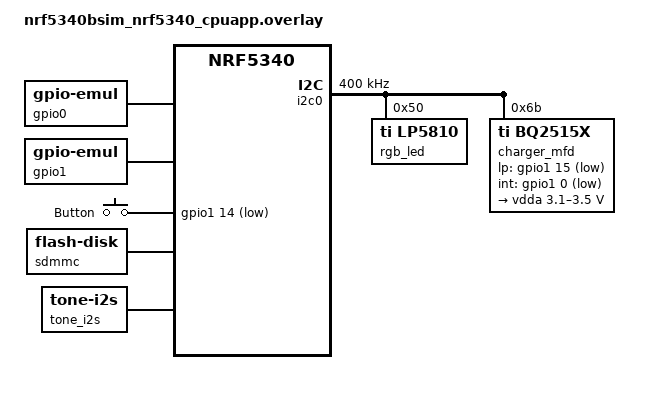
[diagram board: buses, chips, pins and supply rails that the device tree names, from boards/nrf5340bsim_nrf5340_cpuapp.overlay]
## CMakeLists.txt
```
# SPDX-License-Identifier: GPL-3.0-or-later
cmake_minimum_required(VERSION 3.20.0)

# app.overlay is not used automatically if a board-specific overlay is present
list(APPEND EXTRA_DTC_OVERLAY_FILE app.overlay)

find_package(Zephyr REQUIRED HINTS $ENV{ZEPHYR_BASE})

if(("${BOARD}" STREQUAL "zeus_le") OR
    ("${BOARD}" STREQUAL "raytac_mdbt53_db_40") OR
    ("${BOARD}" STREQUAL "nrf5340bsim"))
    message(INFO " ${BOARD} used for Application Core")
else()
    message(FATAL_ERROR "${BOARD} is not supported")
endif()

project(zeus_le_audio LANGUAGES C)

add_subdirectory(../../protocol protocol)
add_subdirectory(../../common common)
add_subdirectory(../common audio_common)
add_subdirectory_ifdef(CONFIG_LFTPD ../../lftpd lftpd)
add_subdirectory(src)

target_link_libraries(app PRIVATE
    zeus_protocol
    zeus_common
    zeus_audio_common
)
```

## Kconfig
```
# SPDX-License-Identifier: GPL-3.0-or-later

source "Kconfig.zephyr"
rsource "../../common/Kconfig"
rsource "../../lftpd/Kconfig"

menu "Zeus LE"

rsource "src/drivers/Kconfig"

endmenu
```

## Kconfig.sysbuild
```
# SPDX-License-Identifier: GPL-3.0-or-later

source "share/sysbuild/Kconfig"

config NET_CORE_BOARD
string
	default "zeus_le/nrf5340/cpunet" if $(BOARD) = "zeus_le"
	default "raytac_mdbt53_db_40/nrf5340/cpunet" if $(BOARD) = "raytac_mdbt53_db_40"
	default "nrf5340bsim/nrf5340/cpunet" if $(BOARD) = "nrf5340bsim"
```

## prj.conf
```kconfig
### General
# WiFi requires full libc, use it on all platforms for consistency
CONFIG_PICOLIBC=y
# Poweroff support
CONFIG_POWEROFF=y
# Reboot support (enables 'kernel reboot' command)
CONFIG_REBOOT=y
# C++ support used for coroutines
CONFIG_CPP=y
# Event support for power module
CONFIG_EVENTS=y
# Build common code for audio node
CONFIG_ZEUS_NODE_AUDIO=y
# Three IPC endpoints: HCI, sync and logging
CONFIG_IPC_SERVICE_BACKEND_RPMSG_NUM_ENDPOINTS_PER_INSTANCE=3
# Increase stack size for SD card mounting
CONFIG_SYSTEM_WORKQUEUE_STACK_SIZE=2048

CONFIG_NRFX_TIMER2=y

### Console
CONFIG_SERIAL=y
CONFIG_UART_CONSOLE=y
# Shell on UART
CONFIG_SHELL_BACKEND_SERIAL=y

### Logging
CONFIG_LOG=y
# Receive logs from network core
CONFIG_LOG_MULTIDOMAIN=y
CONFIG_LOG_LINK_IPC_SERVICE=y
# Deferred mode required for IPC logging
CONFIG_LOG_MODE_DEFERRED=y
CONFIG_LOG_PROCESS_THREAD=y

# FPU required for sync algorithm
CONFIG_FPU=y
# Also want to be able to print floats
CONFIG_REQUIRES_FLOAT_PRINTF=y

### Power management
# Device power management
CONFIG_PM_DEVICE=y
# Runtime power management
CONFIG_PM_DEVICE_RUNTIME=y

### Settings
CONFIG_SETTINGS=y
# Flash support for settings
CONFIG_FLASH=y
CONFIG_FLASH_MAP=y
# Use non-volatile storage backed
CONFIG_NVS=y
CONFIG_SETTINGS_NVS=y
CONFIG_SETTINGS_SHELL=y

### GPIO
CONFIG_GPIO=y

### I2C
CONFIG_I2C=y

### LED
CONFIG_LED=y

### Battery Charger
CONFIG_CHARGER=y

### Regulator
CONFIG_REGULATOR=y

### Sensor (ADC)
CONFIG_SENSOR=y

### Bluetooth LE
CONFIG_BT=y
# Central, connects to other devices
CONFIG_BT_CENTRAL=y
# Security Manager Protocol, pairing support
CONFIG_BT_SMP=y
# Disable legacy pairing
CONFIG_BT_SMP_SC_PAIR_ONLY=y
# Zephyr controller doesn't support ECC, so emulate it on host
CONFIG_BT_TINYCRYPT_ECC=y
# Settings support, to store pairing info
CONFIG_BT_SETTINGS=y
# Receive periodic extended advertisments for synchronization
CONFIG_BT_EXT_ADV=y
CONFIG_BT_PER_ADV_SYNC=y

### Audio
# I2S for audio input
CONFIG_I2S=y
CONFIG_AUDIO=y
# Not directly used, but provides code for custom input codec driver
CONFIG_AUDIO_CODEC=y
# For capturing I2S timestamps
CONFIG_NRFX_EGU0=y

### FAT filesystem for SD card
CONFIG_FILE_SYSTEM=y
# Only FAT is used
CONFIG_FILE_SYSTEM_MAX_TYPES=1
# ELM-ChaN FatFs
CONFIG_FAT_FILESYSTEM_ELM=y
# Enable more than 8.3 file names
CONFIG_FS_FATFS_LFN=y
# Store filenames on stack, required to make FatFS thread safe
CONFIG_FS_FATFS_LFN_MODE_STACK=y
# No point in being larger than lftpd max path length
CONFIG_FS_FATFS_MAX_LFN=128
# Allow safe access from multiple threads
CONFIG_FS_FATFS_REENTRANT=y
# Don't want to destroy unrecognized filesystems
CONFIG_FS_FATFS_MOUNT_MKFS=n

### Shell
CONFIG_SHELL=y
CONFIG_GPIO_SHELL=y
CONFIG_I2C_SHELL=y
CONFIG_LED_SHELL=y
CONFIG_REGULATOR_SHELL=y
```

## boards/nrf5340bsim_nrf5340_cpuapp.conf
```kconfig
### Debugging
# Enable assertions
CONFIG_ASSERT=y

### Console
# Simulated UART on stdin/stdout
CONFIG_NATIVE_UART_0_ON_STDINOUT=y
# Disable default console that only supports output
CONFIG_POSIX_ARCH_CONSOLE=n
# Logging goes through shell UART instead
CONFIG_LOG_BACKEND_NATIVE_POSIX=n
# Have lots of memory, increase log buffer to reduce dropped messages
CONFIG_LOG_BUFFER_SIZE=8192

### Device Emulation
CONFIG_EMUL=y

### Ethernet
CONFIG_ETH_NATIVE_POSIX=y
CONFIG_ETH_NATIVE_POSIX_DRV_NAME="zeus-audio"
CONFIG_ETH_NATIVE_POSIX_RANDOM_MAC=n
CONFIG_ETH_NATIVE_POSIX_MAC_ADDR="02:d2:89:c9:e2:df"

CONFIG_AUDIO_DUMMY_CODEC=y
CONFIG_DISK_DRIVER_FLASH=y

### Audio
CONFIG_I2S_TONE=y

CONFIG_DISK_CACHE_LOG_LEVEL_DBG=y
```

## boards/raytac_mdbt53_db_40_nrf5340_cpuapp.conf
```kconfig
CONFIG_I2C=y
CONFIG_MAIN_STACK_SIZE=2048
CONFIG_NRFX_EGU0=y
CONFIG_SDHC=y
CONFIG_SHELL_BACKEND_SERIAL_API_ASYNC=y
CONFIG_SOC_HFXO_CAP_INT_VALUE_X2=25
CONFIG_SOC_HFXO_CAP_INTERNAL=y
CONFIG_SPI_NRFX_RAM_BUFFER_SIZE=64
CONFIG_UART_ASYNC_API=y
CONFIG_UDC_DRIVER_LOG_LEVEL_WRN=y
CONFIG_USB_DEVICE_STACK_NEXT=y
CONFIG_USBD_CDC_ECM_CLASS=y
CONFIG_USBD_LOG_LEVEL_WRN=y
```

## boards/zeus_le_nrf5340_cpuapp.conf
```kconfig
CONFIG_MAIN_STACK_SIZE=2048
# Increase shell stack for WiFi commands
CONFIG_SHELL_STACK_SIZE=5200

CONFIG_NRFX_EGU0=y

# Configure 32MHz crystal load capacitor
# "The settings for WT02C40C are to be determined"
# These settings are given as an example
CONFIG_SOC_HFXO_CAP_INTERNAL=y
CONFIG_SOC_HFXO_CAP_INT_VALUE_X2=25

### Audio
# Initialize after regulator driver
CONFIG_AUDIO_CODEC_INIT_PRIORITY=87
# Needs to be large enough to ride out SD card latency spikes
CONFIG_I2S_NRFX_RX_BLOCK_COUNT=25
# TX is not used, so save a little memory
CONFIG_I2S_NRFX_TX_BLOCK_COUNT=0

### SD card
CONFIG_SDHC=y
CONFIG_SPI_NRFX_RAM_BUFFER_SIZE=64
CONFIG_SDMMC_VOLUME_NAME="SD_raw"

### USB
# New USB stack
CONFIG_USB_DEVICE_STACK_NEXT=y
# USB Serial
CONFIG_USBD_CDC_ACM_CLASS=y
# Needed by USB serial
CONFIG_UART_LINE_CTRL=y
# Reduce log level
CONFIG_UDC_DRIVER_LOG_LEVEL_WRN=y
CONFIG_USBD_LOG_LEVEL_WRN=y
CONFIG_USBD_CDC_ACM_LOG_LEVEL_WRN=y

### WiFi
# CONFIG_WIFI=y
# WiFi shell commands
# CONFIG_NET_L2_WIFI_SHELL=y
```

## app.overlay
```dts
// SPDX-License-Identifier: GPL-3.0-or-later

#include "../common/audio.dtsi"

/ {
	sdmmc-cached {
		compatible = "zephyr,disk-cache";
		disk-name = "SD";
		backing-disk-name = "SD_raw";
		sector-size = <512>;
		sector-count = <8>;
	};
};
```

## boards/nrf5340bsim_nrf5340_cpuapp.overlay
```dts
// SPDX-License-Identifier: GPL-3.0-or-later

#include <dt-bindings/led/led.h>
#include <zeus/dt-bindings/regulator/bq2515x.h>

/ {
	chosen {
		zephyr,console = &stdio;
		zephyr,shell-uart = &stdio;
	};

	aliases {
		i2s = &tone_i2s;
		codec = &dummy_codec;
	};

	stdio: stdio {
		status = "okay";
		compatible = "zephyr,native-posix-uart";
		/* Dummy current-speed entry to comply with serial
		 * DTS binding
		 */
		current-speed = <0>;
	};

	gpio0: gpio0_emul {	
		status = "okay";
		compatible = "zephyr,gpio-emul";
		rising-edge;
		falling-edge;
		high-level;
		low-level;
		gpio-controller;
		#gpio-cells = <2>;
	};

	gpio1: gpio1_emul {	
		status = "okay";
		compatible = "zephyr,gpio-emul";
		rising-edge;
		falling-edge;
		high-level;
		low-level;
		gpio-controller;
		#gpio-cells = <2>;
	};

	gpio_keys {
		compatible = "gpio-keys";
		button: button {
			label = "Button";
			gpios = <&gpio1 14 GPIO_ACTIVE_LOW>;
			zephyr,code = <INPUT_KEY_0>;
		};
	};

	i2c0: i2c@100 {
		status = "okay";
		compatible = "zephyr,i2c-emul-controller";
		clock-frequency = <I2C_BITRATE_FAST>;
		#address-cells = <1>;
		#size-cells = <0>;
		#forward-cells = <1>;
		reg = <0x100 4>;

		rgb_led: lp5810@50 {
			compatible = "ti,lp5810";
			reg = <0x50>;

			max-current-microamp = <25500>;
			lsd-threshold-percent = <65>;

			rgb-led {
				label = "RGB LED";
				index = <0>;
				color-mapping = <LED_COLOR_ID_BLUE LED_COLOR_ID_GREEN LED_COLOR_ID_RED>;
				manual-current-microamp = <6000 7000 9800>;
				auto-current-microamp = <6000 7000 9800>;
				phase-align = "forward", "middle", "backward";
			};
		};

		charger_mfd: bq25150@6b {
			compatible = "ti,bq2515x";
			reg = <0x6b>;
			lp-gpios = <&gpio1 15 GPIO_ACTIVE_LOW>;
			int-gpios = <&gpio1 0 GPIO_ACTIVE_LOW>;

			pg-mode = "mr";

			charger: charger {
				compatible = "ti,bq2515x-charger";
				ce-gpios = <&gpio1 8 GPIO_ACTIVE_LOW>;

				constant-charge-current-max-microamp = <300000>;
				input-current-max-milliamp = <500>;
			};

			charger_adc: adc {
				compatible = "ti,bq2515x-adc";
				read-rate = "1sec";
			};

			charger_regulators: regulators {
				compatible = "ti,bq2515x-regulator";

				vdda: ldo {
					regulator-initial-mode = <BQ2515X_REGULATOR_MODE_LDO>;
					regulator-min-microvolt = <3100000>;
					regulator-max-microvolt = <3500000>;
				};
			};
		};
	};

	sim_flash {
		compatible = "zephyr,sim-flash";

		#address-cells = <1>;
		#size-cells = <1>;
		erase-value = <0xff>;

		flash@0 {
			compatible = "soc-nv-flash";
			reg = <0x00000000 DT_SIZE_M(256)>;

			erase-block-size = <512>;
			write-block-size = <512>;

			partitions {
				compatible = "fixed-partitions";
				#address-cells = <1>;
				#size-cells = <1>;

				sdmmc_partition: partition@0 {
					label = "sd";
					reg = <0x00000000 DT_SIZE_M(256)>;
				};
			};
		};
	};

	sdmmc {
		compatible = "zephyr,flash-disk";
		partition = <&sdmmc_partition>;
		disk-name = "SD_raw";
		cache-size = <512>;
	};

	tone_i2s: tone-i2s {
		compatible = "zephyr,tone-i2s";
		//frequency = <500>;
	};

	dummy_codec: dummy-codec {
		compatible = "zephyr,dummy-codec";
	};
};
```

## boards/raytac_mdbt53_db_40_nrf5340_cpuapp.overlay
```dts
// SPDX-License-Identifier: GPL-3.0-or-later

/ {
	aliases {
		i2s = &i2s0;
		codec = &sgtl5000;
	};

	cdc_ecm_eth0: cdc_ecm_eth0 {
		compatible = "zephyr,cdc-ecm-ethernet";
		local-mac-address = [ 02 00 00 85 72 C0 ];
		remote-mac-address = "8a5488a923a6";
	};
};

&pinctrl {
	i2c1_default_alt: i2c1_default_alt {
		group1 {
			psels = <NRF_PSEL(TWIM_SDA, 0, 12)>,
				<NRF_PSEL(TWIM_SCL, 1, 3)>;
		};
	};

	i2c1_sleep_alt: i2c1_sleep_alt {
		group1 {
			psels = <NRF_PSEL(TWIM_SDA, 0, 12)>,
				<NRF_PSEL(TWIM_SCL, 1, 3)>;
			low-power-enable;
		};
	};

	i2s0_default_alt: i2s0_default_alt {
		group1 {
			psels = <NRF_PSEL(I2S_MCK, 0, 24)>,
				<NRF_PSEL(I2S_SCK_M, 0, 25)>,
				<NRF_PSEL(I2S_LRCK_M, 1, 6)>,
				<NRF_PSEL(I2S_SDIN, 1, 4)>;
		};
	};

	spi4_default_alt: spi4_default_alt {
		group1 {
			psels = <NRF_PSEL(SPIM_SCK, 0, 8)>,
				<NRF_PSEL(SPIM_MISO, 0, 10)>,
				<NRF_PSEL(SPIM_MOSI, 0, 9)>;
		};
	};

	spi4_sleep_alt: spi4_sleep_alt {
		group1 {
			psels = <NRF_PSEL(SPIM_SCK, 0, 8)>,
				<NRF_PSEL(SPIM_MISO, 0, 10)>,
				<NRF_PSEL(SPIM_MOSI, 0, 9)>;
			low-power-enable;
		};
	};
};

&uart0 {
    current-speed = <1000000>;
};

&i2c1 {
	status = "okay";
	pinctrl-0 = <&i2c1_default_alt>;
	pinctrl-1 = <&i2c1_sleep_alt>;
	pinctrl-names = "default", "sleep";

	sgtl5000: sgtl5000@a {
		compatible = "nxp,sgtl5000";
		reg = <0x0a>;

		micbias-resistor-k-ohms = <2>;
		micbias-voltage-m-volts = <2500>;
	};
};

&clock {
	hfclkaudio-frequency = <11289600>;
};

&i2s0 {
	status = "okay";
	pinctrl-0 = <&i2s0_default_alt>;
	pinctrl-names = "default";
	clock-source = "ACLK";
	mck-min-frequency = <8000000>;
	mck-max-frequency = <27000000>;
};

&spi4 {
	compatible = "nordic,nrf-spim";
	status = "okay";
	cs-gpios = <&gpio0 11 GPIO_ACTIVE_LOW>;
	pinctrl-0 = <&spi4_default_alt>;
	pinctrl-1 = <&spi4_sleep_alt>;
	pinctrl-names = "default", "sleep";

	sdhc0: sdhc@0 {
		compatible = "zephyr,sdhc-spi-slot";
		reg = <0>;
		status = "okay";
		sdmmc {
			compatible = "zephyr,sdmmc-disk";
			status = "okay";
		};

		// Spec says 25 MHz is the max for SPI mode. Next lowest supported by
		// nRF53 SPI is 16 MHz. Probably should hack the driver to allow
		// overclocking to 32 MHz.
		spi-max-frequency = <32000000>;
	};
};

// Need these pins for SD card
&gpio_fwd {
	/delete-node/ uart;
};

// Disable unused hardware
&uart1 {
	status = "disabled";
};

&pwm0 {
	status = "disabled";
};

&spi2 {
	status = "disabled";
};

&spi3 {
	status = "disabled";
};
```

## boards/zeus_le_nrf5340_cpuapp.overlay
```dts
// SPDX-License-Identifier: GPL-3.0-or-later

/ {
	cdc_ecm_eth0: cdc_ecm_eth0 {
		compatible = "zephyr,cdc-ecm-ethernet";
		local-mac-address = [ 02 00 00 85 72 C1 ];
		remote-mac-address = "8a5488a923a6";
	};
};
```

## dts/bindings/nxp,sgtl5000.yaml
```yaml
# SPDX-License-Identifier: GPL-3.0-or-later

description: NXP/Freescale SGTL5000 Audio Codec

compatible: "nxp,sgtl5000"

include: i2c-device.yaml

properties:
  micbias-resistor-k-ohms:
    type: int
    default: 0
    description: |
      The bias resistor to be used in kOhms. The resistor can take values of 2k,
      4k or 8k. By default it is set to 0, which disables the micbias block.
    enum: [ 0, 2, 4, 8 ]

  micbias-voltage-m-volts:
    type: int
    default: 1250
    description: |
      The bias voltage to be used in millivolts. The voltage can take values
      from 1.25V to 3V by 250mV steps. By default, it is set to 1.25mV.
    enum: [ 1250, 1500, 1750, 2000, 2250, 2500, 2750, 3000 ]
```

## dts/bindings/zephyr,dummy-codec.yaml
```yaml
# SPDX-License-Identifier: GPL-3.0-or-later

description: No-op input codec

compatible: "zephyr,dummy-codec"
```

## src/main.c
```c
// SPDX-License-Identifier: GPL-3.0-or-later
#include <nrfx_clock.h>
#include <zephyr/bluetooth/bluetooth.h>
#include <zephyr/kernel.h>
#include <zephyr/logging/log.h>
#include <zephyr/settings/settings.h>

#include "audio.h"
#include "ftp.h"
#include "mgr.h"
#include "record.h"
#include "sd_card.h"
#include "sync_timer.h"
#include "zeus/led.h"
#include "zeus/power.h"
#include "zeus/usb.h"
#include "zeus/wifi.h"

LOG_MODULE_REGISTER(audio_app);

WIFI_POWER_OFF_REGISTER();

#if IS_ENABLED(CONFIG_SOC_SERIES_NRF53X)
static int cpu_clock_128_mhz(void) {
    nrfx_err_t err =
        nrfx_clock_divider_set(NRF_CLOCK_DOMAIN_HFCLK, NRF_CLOCK_HFCLK_DIV_1);
    if (err != NRFX_SUCCESS) {
        LOG_WRN("Failed to set CPU to 128 MHz: %d", err - NRFX_ERROR_BASE_NUM);
        return -1;
    }
    return 0;
}
#endif

int main(void) {
    int ret;

    ret = power_init();
    if (ret) {
        LOG_ERR("power init failed (err %d)", ret);
    }

#if IS_ENABLED(CONFIG_SOC_SERIES_NRF53X)
    // Set CPU clock to 128 MHz
    cpu_clock_128_mhz();
#endif

    ret = led_boot();
    if (ret < 0) {
        LOG_ERR("failed to set LED (err %d)", ret);
    }

    // Initialize the Bluetooth Subsystem
    ret = bt_enable(NULL);
    if (ret < 0) {
        LOG_ERR("failed to enable Bluetooth (err %d)", ret);
        return 0;
    }

    ret = settings_load();
    if (ret) {
        LOG_WRN("failed to load settings (err %d)", ret);
        // No return, settings failure is not fatal
    }

    usb_init();
    sd_card_init();
    sync_timer_init();
    record_init();
    audio_init();
    mgr_init();

    LOG_INF("Booted");

    return 0;
}
```

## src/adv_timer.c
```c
// SPDX-License-Identifier: GPL-3.0-or-later
#include "adv_timer.h"

#include <hal/nrf_ipc.h>
#include <nrfx_dppi.h>
#include <zephyr/drivers/clock_control/nrf_clock_control.h>
#include <zephyr/logging/log.h>

#include "zeus/protocol.h"
#include "zeus/sync.h"

LOG_MODULE_REGISTER(adv_timer);

#define ADV_TIMER_INDEX 2
#define ADV_TIMER_CAPTURE_CHANNEL 0

int adv_timer_init(struct adv_timer *t) {
    nrfx_err_t nerr;

    const struct device *mbox = DEVICE_DT_GET(DT_NODELABEL(mbox));
    struct mbox_channel channel;

    mbox_init_channel(&channel, mbox, ZEUS_PACKET_END_MBOX_CHANNEL);

    t->timer = (nrfx_timer_t)NRFX_TIMER_INSTANCE(ADV_TIMER_INDEX);

    // Setup 32-bit 16 MHz timer to capture on radio end event
    nerr = nrfx_timer_init(&t->timer,
                           &(nrfx_timer_config_t){
                               .frequency = ADV_TIMER_FREQ,
                               .mode = NRF_TIMER_MODE_TIMER,
                               .bit_width = NRF_TIMER_BIT_WIDTH_32,
                           },
                           NULL);
    NRFX_ASSERT(NRFX_SUCCESS == nerr);

    uint8_t dppi;
    nerr = nrfx_dppi_channel_alloc(&dppi);
    if (NRFX_SUCCESS != nerr) {
        LOG_ERR("failed to allocate DPPI channel (err %d)\n", nerr);
        return -ENOMEM;
    }

    // Configure MBOX IPC channel receive to trigger timer capture
    nrf_ipc_publish_set(
        NRF_IPC, nrf_ipc_receive_event_get(ZEUS_PACKET_END_MBOX_CHANNEL), dppi);
    nrf_timer_subscribe_set(
        t->timer.p_reg, nrf_timer_capture_task_get(ADV_TIMER_CAPTURE_CHANNEL),
        dppi);
    nrfx_dppi_channel_enable(dppi);

    // Keep HFCLK enabled and using HFXO all the time. This is required because
    // we need an accurate clock to run the timer.
    struct onoff_manager *mgr =
        z_nrf_clock_control_get_onoff(CLOCK_CONTROL_NRF_SUBSYS_HF);
    sys_notify_init_spinwait(&t->hf_cli.notify);
    onoff_request(mgr, &t->hf_cli);

    // Start the timer
    nrfx_timer_enable(&t->timer);

    return 0;
}

bool adv_timer_recv(struct adv_timer *t, const struct zeus_adv_data *data,
                    uint32_t *local_time, uint32_t *central_time) {
    bool ret = false;

    if (t->last_time_valid && data->seq == t->last_time_seq) {
        *local_time = t->last_time;
        *central_time = data->time;
        ret = true;
    }

    uint32_t time =
        nrfx_timer_capture_get(&t->timer, ADV_TIMER_CAPTURE_CHANNEL);

    t->last_time_valid = true;
    t->last_time_seq = data->seq + 1;
    t->last_time = time;

    return ret;
}
```

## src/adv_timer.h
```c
// SPDX-License-Identifier: GPL-3.0-or-later
#pragma once

#include <nrfx_timer.h>
#include <stdint.h>
#include <zephyr/drivers/mbox.h>
#include <zephyr/sys/onoff.h>

#include "zeus/protocol.h"

#define ADV_TIMER_FREQ 16000000

struct adv_timer {
    // Resources
    struct mbox_channel channel;
    nrfx_timer_t timer;
    struct onoff_client hf_cli;

    // State
    /// True if a previous advertisment has been received
    bool last_time_valid;
    /// Sequence number of the advertisment whose time is captured in last_time.
    uint8_t last_time_seq;
    /// Local timestamp of the last received advertisment
    uint32_t last_time;
};

int adv_timer_init(struct adv_timer *t);

bool adv_timer_recv(struct adv_timer *t, const struct zeus_adv_data *data,
                    uint32_t *local_time, uint32_t *central_time);
```

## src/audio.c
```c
// SPDX-License-Identifier: GPL-3.0-or-later
#include "audio.h"

#include <hal/nrf_clock.h>
#include <hal/nrf_i2s.h>
#include <nrfx_dppi.h>
#include <nrfx_egu.h>
#include <zephyr/drivers/i2s.h>
#include <zephyr/kernel.h>
#include <zephyr/logging/log.h>
#include <zephyr/settings/settings.h>

#include "drivers/input_codec.h"
#include "fixed.h"
#include "freq_ctlr.h"
#include "freq_est.h"
#include "record.h"
#include "sync_timer.h"
#include "zeus/util.h"

LOG_MODULE_REGISTER(audio, LOG_LEVEL_DBG);

struct audio_block_time {
    /// Number of timer ticks (as Q32.32) that should have elapsed from the time
    /// I2S was started to the start of the I2S buffer.
    qu32_32 i2s_time;
    /// Local timer count captured at the start of the I2S buffer. This is a
    /// local timestamp, before correction by the state estimator.
    uint32_t ref_time;
};

// TODO: sample rate must currently be divisible by the number of samples
#define AUDIO_BLOCK_SIZE 14400
#if IS_ENABLED(CONFIG_I2S_NRFX)
// Queue size limits the number of buffered blocks, so no point having more than
// the queue size plus one for the block currently being used by the hardware.
#define AUDIO_BLOCK_COUNT (CONFIG_I2S_NRFX_RX_BLOCK_COUNT + 1)
#else
#define AUDIO_BLOCK_COUNT 5
#endif

K_MEM_SLAB_DEFINE_STATIC(audio_slab, AUDIO_BLOCK_SIZE, AUDIO_BLOCK_COUNT, 4);

static K_SEM_DEFINE(audio_started, 0, 1);
static K_THREAD_STACK_DEFINE(audio_thread_stack, 2048);

#define AUDIO_SYNC_ENABLED IS_ENABLED(CONFIG_I2S_NRFX)

#define AUDIO_EGU_IDX 0
#define AUDIO_EGU_IRQ NRFX_IRQ_NUMBER_GET(NRF_EGU_INST_GET(AUDIO_EGU_IDX))
#if AUDIO_SYNC_ENABLED
#define AUDIO_EGU_IRQ_PRIO IRQ_PRIO_LOWEST
#else
// Dummy for simulator
#define AUDIO_EGU_IRQ_PRIO 0
#endif

#if AUDIO_SYNC_ENABLED
#define AUDIO_HFCLKAUDIO_FREQ_NOMINAL \
    DT_PROP(DT_NODELABEL(clock), hfclkaudio_frequency)
#else
#define AUDIO_HFCLKAUDIO_FREQ_NOMINAL 12288000
#endif

#define AUDIO_HFCLKAUDIO_FREQ_REG_MIN 36834
#define AUDIO_HFCLKAUDIO_FREQ_REG_MAX 42874

static K_MUTEX_DEFINE(audio_mutex);

K_MSGQ_DEFINE(audio_block_time_queue, sizeof(struct audio_block_time),
              AUDIO_BLOCK_COUNT, 1);

static const struct audio_config {
    struct k_mutex *mutex;
    const struct device *const codec;
    const struct device *const i2s;
    struct k_mem_slab *const slab;
    struct k_sem *const started;

    const struct freq_est_config freq_est_cfg;
    const struct freq_ctlr freq_ctlr;

    struct k_msgq *const block_time_queue;
} audio_config = {
    .mutex = &audio_mutex,
    .codec = DEVICE_DT_GET(DT_ALIAS(codec)),
    .i2s = DEVICE_DT_GET(DT_ALIAS(i2s)),
    .slab = &audio_slab,
    .started = &audio_started,

    .freq_est_cfg =
        {
            .nominal_freq = ZEUS_TIME_NOMINAL_FREQ,
            .k_u = 32e6 / (12.0 * (1 << 16) * AUDIO_HFCLKAUDIO_FREQ_NOMINAL),
            .q_theta = 0.0,
            .q_f = 256.0,
            .r = 390625.0,
            .p0 = 1e6,
            .outlier_threshold = 20.0f,
            .outlier_resync_count = 5,
        },
    .freq_ctlr =
        {
            .k_theta = 4.03747559e-11,
            .k_f = 6.45996094e-05,
            .max_step = 1000,
        },
    .block_time_queue = &audio_block_time_queue,
};

static struct audio_data {
    bool init;
    struct k_thread thread;
    /// Audio sampling period (Q32.32)
    qu32_32 sample_period;
    /// Time increment per buffer (Q32.32)
    qu32_32 block_duration;
    struct freq_est freq_est;
    /// Number of timer ticks (as Q32.32) that should have elapsed from the time
    /// I2S was started to the start of the latest I2S buffer.
    qu32_32 i2s_time;
    /// Controller target phase difference between the elapsed ticks counter
    /// (`i2s_time` variable) and central time (recovered via state estimator).
    /// This is set once after both I2S has started and the state estimator is
    /// initialized.
    qu32_32 target_theta;
    /// Last controller input
    int16_t hfclkaudio_increment;
} audio_data;

/// Update the I2S frequency estimator and controller, and return the starting
/// central time for the block if available. If the central time is not
/// available, return false.
static bool audio_sync_update(const struct audio_block_time *block_time,
                              uint32_t *block_start_time) {
    const struct audio_config *config = &audio_config;
    struct audio_data *data = &audio_data;
    qu32_32 ref_time = qu32_32_from_int(block_time->ref_time);

    // Convert local timer to central timestamp, if available. If no central
    // reference is available yet, continue anyway. This will sync the audio
    // clock with the local timer. When the central time becomes available, it
    // will cause an outlier reset and the controller will resync with the
    // central clock.
    sync_timer_local_to_central(&ref_time);

    enum freq_est_result result =
        freq_est_update(&data->freq_est, block_time->i2s_time, ref_time,
                        data->hfclkaudio_increment);

    struct freq_est_state state = freq_est_get_state(&data->freq_est);
    if (result == FREQ_EST_RESULT_INIT) {
        LOG_INF("phase target reset");
        // Round target phase to multiple of sample period. This will
        // synchronize the sampling times of all devices.
        data->target_theta =
            DIV_ROUND_CLOSEST(state.theta, data->sample_period) *
            data->sample_period;
    }

    // Calculate central node block timestamp assuming the controller is
    // maintaining the setpoint perfectly. If the controller is still
    // converging, this means the start of the recording may not be perfectly in
    // sync, but it will gradually synchronize over time.
    *block_start_time =
        qu32_32_whole(block_time->i2s_time - data->target_theta);

    data->hfclkaudio_increment =
        freq_ctlr_update(&config->freq_ctlr, data->target_theta, state);

    uint16_t freq = nrf_clock_hfclkaudio_config_get(NRF_CLOCK);

    // Clamp frequency in bounds
    int16_t max_inc = AUDIO_HFCLKAUDIO_FREQ_REG_MAX - freq;
    int16_t min_inc = AUDIO_HFCLKAUDIO_FREQ_REG_MIN - freq;
    if (data->hfclkaudio_increment > max_inc) {
        data->hfclkaudio_increment = max_inc;
    } else if (data->hfclkaudio_increment < min_inc) {
        data->hfclkaudio_increment = min_inc;
    }
    freq += data->hfclkaudio_increment;

    nrf_clock_hfclkaudio_config_set(NRF_CLOCK, freq);
    // printk("audio,%" PRIu64 ",%" PRIu64 ",%" PRIu16 ",%" PRIi16 ",%e\n",
    //        block_time->i2s_time - data->target_theta, ref_time, freq,
    //        data->hfclkaudio_increment, (double)(state.f / QU32_32_ONE));
    return true;
}

/// Convert a buffer of 32-bit LE integers to packed 24-bit in place by
/// discarding the least significant byte. Return the new length of the buffer.
static size_t audio_buffer_32_to_24(uint8_t *buf, size_t len) {
    __ASSERT(len % 4 == 0, "Buffer size not a multiple of 32-bits");

    int i, j;
    for (i = 1, j = 0; i < len; i += 4, j += 3) {
        memmove(buf + j, buf + i, 3);
    }

    return len / 4 * 3;
}

static void audio_thread_run(void *p1, void *p2, void *p3) {
    const struct audio_config *config = &audio_config;
    struct audio_data *data = &audio_data;
    int err;

    err = i2s_trigger(config->i2s, I2S_DIR_RX, I2S_TRIGGER_START);
    if (err) {
        LOG_ERR("failed to trigger I2S (err %d)", err);
        return;
    }

    while (true) {
        void *block_buf = NULL;
        uint32_t block_size;

        err = i2s_read(config->i2s, &block_buf, &block_size);
        if (err) {
            LOG_ERR("failed to read I2S (err %d)", err);

            err = i2s_trigger(config->i2s, I2S_DIR_RX, I2S_TRIGGER_PREPARE);
            if (err) {
                LOG_ERR("failed to clear I2S error (err %d)", err);
                break;
            }
            err = i2s_trigger(config->i2s, I2S_DIR_RX, I2S_TRIGGER_START);
            if (err) {
                LOG_ERR("failed to re-start I2S (err %d)", err);
                break;
            }
            continue;
        }

        bool block_start_time_valid = false;
        uint32_t block_start_time;
        if (AUDIO_SYNC_ENABLED) {
            struct audio_block_time block_time;
            // RXPTRUPD should trigger at the beginning of each block, so we
            // should never have to wait for a timestamp to become available
            err = k_msgq_get(config->block_time_queue, &block_time, K_NO_WAIT);
            if (err) {
                // If this happens, EGU interrupt never ran
                LOG_ERR("did not receive block timestamp (err %d)", err);
                break;
            }
            block_start_time_valid =
                audio_sync_update(&block_time, &block_start_time);
        } else {
            block_start_time = qu32_32_whole(sync_timer_get_central_time());
            block_start_time_valid = true;
        }

        k_sem_give(config->started);

        // Don't pass buffer to recording module if we don't have a valid
        // timestamp for it
        if (block_start_time_valid) {
            const struct audio_block block = {
                .buf = block_buf,
                .len = block_size,
                .start_time = block_start_time,
                .duration = qu32_32_whole(data->block_duration),
                // TODO: don't hardcode
                .bytes_per_frame = 6,
            };

            record_buffer(&block);
        }

        k_mem_slab_free(config->slab, block_buf);
    }
}

static void audio_egu_handler(uint8_t event_idx, void *p_context) {
    const struct audio_config *config = &audio_config;
    struct audio_data *data = &audio_data;
    const struct audio_block_time block_time = {
        .i2s_time = data->i2s_time,
        .ref_time = sync_timer_get_i2s_time(),
    };
    data->i2s_time += data->block_duration;
    int err = k_msgq_put(config->block_time_queue, &block_time, K_NO_WAIT);
    if (err < 0) {
        // I2S buffer should overrun before this happens
        LOG_ERR("failed to queue block timestamp (err %d)", err);
    }
}

/// Check whether the first `str_len` characters of `str` are equal to `match`,
/// including being the same length.
static bool string_partial_match(const char *str, size_t str_len,
                                 const char *match) {
    return strlen(match) == str_len && strncmp(str, match, str_len) == 0;
}

static const char *audio_channel_to_string(audio_channel_t channel) {
    switch (channel) {
        case AUDIO_CHANNEL_FRONT_LEFT:
            return "left";
        case AUDIO_CHANNEL_FRONT_RIGHT:
            return "right";
        default:
            return NULL;
    }
}

/// Convert the prefix of the specified string to a channel enum value. Pass the
/// string and the length of the prefix to match. Return 0 on success, or -1 if
/// the string does not match a channel name.
int audio_channel_from_string_prefix(const char *str, size_t str_len,
                                     audio_channel_t *channel) {
    if (string_partial_match(str, str_len, "left")) {
        *channel = AUDIO_CHANNEL_FRONT_LEFT;
    } else if (string_partial_match(str, str_len, "right")) {
        *channel = AUDIO_CHANNEL_FRONT_RIGHT;
    } else {
        return -1;
    }
    return 0;
}

/// Wrapper around settings_save_one() to save a setting for the specified ADC
/// channel.
static int audio_settings_channel_save(audio_channel_t channel,
                                       const char *setting, void *val,
                                       size_t len) {
    int ret;

    const char *channel_str = audio_channel_to_string(channel);
    if (!channel_str) return -EINVAL;

    char key[32];
    ret = snprintf(key, sizeof(key), "audio/ch/%s/%s", channel_str, setting);
    if (ret < 0) return ret;
    if (ret >= sizeof(key)) return -EINVAL;

    return settings_save_one(key, val, len);
}

/// Callback for settings_load_subtree_direct() to apply audio settings.
static int audio_settings_load_cb(const char *key, size_t len,
                                  settings_read_cb read_cb, void *cb_arg,
                                  void *param) {
    const struct audio_config *config = &audio_config;
    int ret;
    const char *next;

    if (settings_name_steq(key, "ch", &next)) {
        if (!next) return 0;

        const char *channel_str = next;
        int channel_len = settings_name_next(next, &next);
        audio_channel_t channel;
        ret = audio_channel_from_string_prefix(channel_str, channel_len,
                                               &channel);
        if (ret) {
            LOG_WRN("setting for unknown channel: %s", next);
            return 0;
        }

        if (strcmp(next, "a_gain") == 0) {
            int32_t gain;
            ret = read_cb(cb_arg, &gain, sizeof(gain));
            if (ret != sizeof(gain)) {
                LOG_WRN("failed to read setting: %s (read %d)", key, ret);
                return 0;
            }

            ret = input_codec_set_property(
                config->codec, INPUT_CODEC_PROPERTY_ANALOG_GAIN, channel,
                (union input_codec_property_value){
                    .gain = gain,
                });
            if (ret) {
                LOG_WRN("failed to apply analog gain (err %d)", ret);
                return 0;
            }
        } else if (strcmp(next, "d_gain") == 0) {
            int32_t gain;
            ret = read_cb(cb_arg, &gain, sizeof(gain));
            if (ret != sizeof(gain)) {
                LOG_WRN("failed to read setting: %s (read %d)", key, ret);
                return 0;
            }

            ret = input_codec_set_property(
                config->codec, INPUT_CODEC_PROPERTY_DIGITAL_GAIN, channel,
                (union input_codec_property_value){
                    .gain = gain,
                });
            if (ret) {
                LOG_WRN("failed to apply digital gain (err %d)", ret);
                return 0;
            }
        } else if (strcmp(next, "imp") == 0) {
            uint32_t impedance_ohms;
            ret = read_cb(cb_arg, &impedance_ohms, sizeof(impedance_ohms));
            if (ret != sizeof(impedance_ohms)) {
                LOG_WRN("failed to read setting: %s (read %d)", key, ret);
                return 0;
            }

            ret = input_codec_set_property(
                config->codec, INPUT_CODEC_PROPERTY_IMPEDANCE, channel,
                (union input_codec_property_value){
                    .impedance = impedance_ohms,
                });
            if (ret) {
                LOG_WRN("failed to apply impedance (err %d)", ret);
                return 0;
            }
        } else {
            LOG_WRN("unknown channel setting: %s", key);
            return 0;
        }
    } else {
        LOG_WRN("unknown audio setting: %s", key);
        return 0;
    }

    return 0;
}

int audio_init() {
    int ret;
    const struct audio_config *config = &audio_config;
    struct audio_data *data = &audio_data;

    K_MUTEX_AUTO_LOCK(config->mutex);
    if (data->init) return -EALREADY;

    if (!device_is_ready(config->codec)) {
        LOG_ERR("%s is not ready\n", config->codec->name);
        return -ENODEV;
    }

    if (!device_is_ready(config->i2s)) {
        LOG_ERR("%s is not ready\n", config->i2s->name);
        return -ENODEV;
    }

    struct audio_codec_cfg cfg = {
#if AUDIO_SYNC_ENABLED
        .mclk_freq = AUDIO_HFCLKAUDIO_FREQ_NOMINAL,
#else
        .mclk_freq = 0,
#endif
        .dai_type = AUDIO_DAI_TYPE_I2S,
        .dai_cfg.i2s =
            {
                .word_size = 16,
                .channels = 2,
                .format = I2S_FMT_DATA_FORMAT_LEFT_JUSTIFIED,
                .options = I2S_OPT_BIT_CLK_MASTER | I2S_OPT_FRAME_CLK_MASTER,
                .frame_clk_freq = 48000,
                .mem_slab = config->slab,
                .block_size = config->slab->info.block_size,
                .timeout = 1000,
            },
    };

    data->sample_period = qu32_32_from_int(ZEUS_TIME_NOMINAL_FREQ) /
                          cfg.dai_cfg.i2s.frame_clk_freq;

    uint32_t frames_per_block = AUDIO_BLOCK_SIZE / cfg.dai_cfg.i2s.channels /
                                (cfg.dai_cfg.i2s.word_size / 8);
    __ASSERT(frames_per_block * cfg.dai_cfg.i2s.channels *
                     cfg.dai_cfg.i2s.word_size ==
                 AUDIO_BLOCK_SIZE * 8,
             "Block size not a multiple of frame size");
    // TODO: allow sample-rates that aren't a multiple of frame/block.
    // Naive implementation overflows 64-bit integer with intermediate
    // result.
    data->block_duration =
        qu32_32_from_int((uint64_t)ZEUS_TIME_NOMINAL_FREQ * frames_per_block /
                         cfg.dai_cfg.i2s.frame_clk_freq);
    __ASSERT(data->block_duration * cfg.dai_cfg.i2s.frame_clk_freq ==
                 qu32_32_from_int(ZEUS_TIME_NOMINAL_FREQ * frames_per_block),
             "Block duration not a whole number of timer ticks");

    freq_est_init(&data->freq_est, &config->freq_est_cfg);

    nrfx_egu_t egu = NRFX_EGU_INSTANCE(AUDIO_EGU_IDX);

    IRQ_CONNECT(AUDIO_EGU_IRQ, AUDIO_EGU_IRQ_PRIO,
                NRFX_EGU_INST_HANDLER_GET(AUDIO_EGU_IDX), 0, 0);

    nrfx_err_t nerr =
        nrfx_egu_init(&egu, 0 /* ignored */, audio_egu_handler, NULL);
    if (NRFX_SUCCESS != nerr) {
        LOG_ERR("failed to configure EGU for I2S (err %d)", nerr);
        return -EALREADY;
    }

    if (AUDIO_SYNC_ENABLED) {
        uint8_t i2s_dppi = sync_timer_get_i2s_dppi();
        nrf_i2s_publish_set(NRF_I2S0, NRF_I2S_EVENT_RXPTRUPD, i2s_dppi);
        nrf_egu_subscribe_set(egu.p_reg, NRF_EGU_TASK_TRIGGER0, i2s_dppi);
        nrfx_egu_int_enable(&egu, NRF_EGU_INT_TRIGGERED0);
        nrfx_dppi_channel_enable(i2s_dppi);
    }

    ret = settings_load_subtree_direct("audio", audio_settings_load_cb, NULL);
    if (ret) {
        LOG_WRN("failed to load settings (err %d)", ret);
    }

    ret = i2s_configure(config->i2s, I2S_DIR_RX, &cfg.dai_cfg.i2s);
    if (ret) {
        LOG_ERR("failed to configure I2S (err %d)", ret);
        return ret;
    }

    ret = input_codec_configure(config->codec, &cfg);
    if (ret) {
        LOG_ERR("failed to configure codec (err %d)", ret);
        return ret;
    }

    k_thread_create(&data->thread, audio_thread_stack,
                    K_THREAD_STACK_SIZEOF(audio_thread_stack), audio_thread_run,
                    NULL, NULL, NULL, K_PRIO_COOP(12), 0, K_NO_WAIT);
    k_thread_name_set(&data->thread, "audio");

    ret = k_sem_take(config->started, K_MSEC(2000));
    if (ret) {
        LOG_ERR("audio did not start");
        return ret;
    }
    LOG_INF("audio started");

    data->init = true;
    return 0;
}

int audio_start(void) {
    const struct audio_config *config = &audio_config;

    K_MUTEX_AUTO_LOCK(config->mutex);
    return input_codec_start_input(config->codec);
}

int audio_stop(void) {
    const struct audio_config *config = &audio_config;

    K_MUTEX_AUTO_LOCK(config->mutex);
    return input_codec_stop_input(config->codec);
}

int audio_channel_from_string(const char *str, audio_channel_t *channel) {
    return audio_channel_from_string_prefix(str, strlen(str), channel);
}

int audio_get_analog_gain(audio_channel_t channel, int32_t *gain) {
    const struct audio_config *config = &audio_config;
    struct audio_data *data = &audio_data;
    union input_codec_property_value prop;
    int ret;

    K_MUTEX_AUTO_LOCK(config->mutex);
    if (!data->init) return -EINVAL;

    ret = input_codec_get_property(
        config->codec, INPUT_CODEC_PROPERTY_ANALOG_GAIN, channel, &prop);
    if (ret) return ret;

    *gain = prop.gain;
    return 0;
}

int audio_set_analog_gain(audio_channel_t channel, int32_t gain) {
    const struct audio_config *config = &audio_config;
    struct audio_data *data = &audio_data;
    int ret;

    K_MUTEX_AUTO_LOCK(config->mutex);
    if (!data->init) return -EINVAL;

    ret = input_codec_set_property(config->codec,
                                   INPUT_CODEC_PROPERTY_ANALOG_GAIN, channel,
                                   (union input_codec_property_value){
                                       .gain = gain,
                                   });
    if (ret) return ret;

    ret = input_codec_apply_properties(config->codec);
    if (ret) return ret;

    return audio_settings_channel_save(channel, "a_gain", &gain, sizeof(gain));
}

int audio_get_digital_gain(audio_channel_t channel, int32_t *gain) {
    const struct audio_config *config = &audio_config;
    struct audio_data *data = &audio_data;
    union input_codec_property_value prop;
    int ret;

    K_MUTEX_AUTO_LOCK(config->mutex);
    if (!data->init) return -EINVAL;

    ret = input_codec_get_property(
        config->codec, INPUT_CODEC_PROPERTY_DIGITAL_GAIN, channel, &prop);
    if (ret) return ret;

    *gain = prop.gain;
    return 0;
}

int audio_set_digital_gain(audio_channel_t channel, int32_t gain) {
    const struct audio_config *config = &audio_config;
    struct audio_data *data = &audio_data;
    int ret;

    K_MUTEX_AUTO_LOCK(config->mutex);
    if (!data->init) return -EINVAL;

    ret = input_codec_set_property(config->codec,
                                   INPUT_CODEC_PROPERTY_DIGITAL_GAIN, channel,
                                   (union input_codec_property_value){
                                       .gain = gain,
                                   });
    if (ret) return ret;

    ret = input_codec_apply_properties(config->codec);
    if (ret) return ret;

    return audio_settings_channel_save(channel, "d_gain", &gain, sizeof(gain));
}

int audio_get_impedance(audio_channel_t channel, uint32_t *impedance_ohms) {
    const struct audio_config *config = &audio_config;
    struct audio_data *data = &audio_data;
    union input_codec_property_value prop;
    int ret;

    K_MUTEX_AUTO_LOCK(config->mutex);
    if (!data->init) return -EINVAL;

    ret = input_codec_get_property(
        config->codec, INPUT_CODEC_PROPERTY_IMPEDANCE, channel, &prop);
    if (ret) return ret;

    *impedance_ohms = prop.impedance;
    return 0;
}

int audio_set_impedance(audio_channel_t channel, uint32_t impedance_ohms) {
    const struct audio_config *config = &audio_config;
    struct audio_data *data = &audio_data;
    int ret;

    K_MUTEX_AUTO_LOCK(config->mutex);
    if (!data->init) return -EINVAL;

    ret = input_codec_set_property(config->codec,
                                   INPUT_CODEC_PROPERTY_IMPEDANCE, channel,
                                   (union input_codec_property_value){
                                       .impedance = impedance_ohms,
                                   });
    if (ret) return ret;

    ret = input_codec_apply_properties(config->codec);
    if (ret) return ret;

    return audio_settings_channel_save(channel, "imp", &impedance_ohms,
                                       sizeof(impedance_ohms));
}
```

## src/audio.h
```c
// SPDX-License-Identifier: GPL-3.0-or-later
#pragma once

#include <errno.h>
#include <stddef.h>
#include <stdint.h>
#include <zephyr/audio/codec.h>

#ifdef __cplusplus
extern "C" {
#endif

struct audio_block {
    uint8_t *buf;
    size_t len;
    uint32_t start_time;
    uint32_t duration;
    uint8_t bytes_per_frame;
};

int audio_init(void);

/// Power on the ADC. The I2S peripheral is always running to allow
/// synchronization. Return -EALREADY if ADC is already running.
int audio_start(void);

/// Shutdown the ADC to save power. The I2S peripheral is remaings running to
/// allow synchronization. Return -EALREADY if ADC is already powered off.
int audio_stop(void);

/// Convert the name of a channel into its channel enum value. Return 0 if
/// successful, or -1 if the name does not match any supported channel.
int audio_channel_from_string(const char *str, audio_channel_t *channel);

/// Get the ADC analog gain for the specified channel, in units of 0.5dB.
int audio_get_analog_gain(audio_channel_t channel, int32_t *gain);

/// Set and save the ADC analog gain for the specified channel, in units of
/// 0.5dB. The configured gain persists across reboots.
int audio_set_analog_gain(audio_channel_t channel, int32_t gain);

/// Get the ADC digital gain for the specified channel, in units of 0.5dB.
int audio_get_digital_gain(audio_channel_t channel, int32_t *gain);

/// Set and save the ADC digital gain for the specified channel, in units of
/// 0.5dB. The configured gain persists across reboots.
int audio_set_digital_gain(audio_channel_t channel, int32_t gain);

/// Get the input impedance for the specified channel, in units of ohms.
int audio_get_impedance(audio_channel_t channel, uint32_t *impedance_ohms);

/// Set and save the input impedance for the specified channel, in units of
/// ohms. The configured impedance persists across reboots.
int audio_set_impedance(audio_channel_t channel, uint32_t impedance_ohms);

#ifdef __cplusplus
}
#endif
```

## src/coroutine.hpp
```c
#pragma once

#include <limits.h>

enum class co_result_type {
    READY,
    PENDING,
};

template <typename T>
struct co_result final {
    T result;
    enum class co_result_type {
        READY,
        PENDING,
    } type;

    static constexpr co_result<T> ready(T result) {
        return co_result<T>{.result = result, .type = co_result_type::READY};
    }
    static constexpr co_result<T> pending() {
        return co_result<T>{.type = co_result_type::PENDING};
    }

    constexpr bool is_pending() const {
        return type == co_result_type::PENDING;
    }
    constexpr T get() const { return result; }
};

class co_cancel {
    const co_cancel* parent{nullptr};
    bool canceled{false};

   public:
    constexpr co_cancel() {}
    co_cancel(bool canceled) : canceled(canceled) {}
    co_cancel(const co_cancel& parent) : parent(&parent) {}

    void cancel() { canceled = true; }

    explicit operator bool() const {
        if (canceled) return true;
        if (parent && *parent) return true;
        return false;
    }
};

class co_routine {
   protected:
    void* state___;
};

#define CO_DECLARE(rtype, name, ...)              \
    class name final : public co_routine {        \
       public:                                    \
        co_result<rtype> operator()(__VA_ARGS__); \
                                                  \
       private:                                   \
        typedef rtype rtype___;

#define CO_CALLEE(name) class name name;

#define CO_DECLARE_END }

#define CO_DEFINE(rtype, name, ...) \
    co_result<rtype> name::operator()(__VA_ARGS__)

#define CO_BEGIN                                  \
    do {                                          \
        if (this->state___) goto* this->state___; \
        *this = __typeof__(*this){};              \
    } while (0)

#define _CO_LABEL_IMPL(suffix) coroutine_##suffix
#define _CO_LABEL(suffix) _CO_LABEL_IMPL(suffix)

#define _CO_YIELD_IMPL(counter)                \
    do {                                       \
        this->state___ = &&_CO_LABEL(counter); \
        return co_result<rtype___>::pending(); \
        _CO_LABEL(counter) :;                  \
    } while (0)

#define CO_YIELD _CO_YIELD_IMPL(__COUNTER__)

#define CO_AWAIT(func)                           \
    ({                                           \
        decltype(func) ret___;                   \
        while ((ret___ = (func)).is_pending()) { \
            CO_YIELD;                            \
        }                                        \
        ret___.get();                            \
    })

#define CO_RETURN(val)                          \
    do {                                        \
        this->state___ = nullptr;               \
        return co_result<rtype___>::ready(val); \
    } while (0)

template <typename C, typename R>
class co_fuse {
    co_result<R> res;
    C co;

   public:
    template <typename... Args>
    co_result<R> operator()(Args... args) {
        if (!res.is_pending()) return res;
        res = co(args...);
        return res;
    }
};

template <typename R, typename... Args>
co_result<R> _co_select(bool cancel, Args... res) {
    bool done = true;
    for (const auto p : {res...}) {
        if (p.is_pending()) done = false;
    }
    // if (!done) CO_YIELD;
}

#define CO_SELECT(select, cancel, ...)             \
    do {                                           \
        bool cancel = (cancel) || (select).cancel; \
        (select)(__VA_ARGS__)                      \
    } while (0)

template <typename T>
class co_loan_guard;

template <typename T>
class co_loan final {
    T* ptr;

   public:
    class guard final {
        friend class co_loan;

        T** loan_ptr;
        guard(T** loan_ptr) : loan_ptr(loan_ptr) {}

       public:
        ~guard() { *loan_ptr = nullptr; }
    };

    [[nodiscard]] guard loan(T& data) {
        ptr = &data;
        return guard{&ptr};
    }

    co_result<T*> get(bool cancel = false) {
        if (cancel) return co_result<T*>::ready(nullptr);
        if (!ptr) return co_result<T*>::pending();
        T* data = ptr;
        ptr = nullptr;
        return co_result<T*>::ready(data);
    }

    CO_DECLARE(T*, get2, co_loan& loan, bool cancel = false);
    CO_DECLARE_END;
};

template <typename T>
CO_DEFINE(T*, co_loan<T>::get2, co_loan& loan, bool cancel) {
    while (true) {
        if (cancel) CO_RETURN(nullptr);
        if (loan.ptr) break;
        CO_YIELD;
    }
    T* data = loan.ptr;
    loan.ptr = nullptr;
    CO_RETURN(data);
}
```

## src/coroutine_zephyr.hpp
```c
#pragma once

#include <zephyr/kernel.h>

#include "coroutine.hpp"

template <typename C>
class co_sync {
    struct k_mutex mutex;
    C co;

   public:
    co_sync() { k_mutex_init(&mutex); }

    template <typename... Args>
    co_result<int> operator()(k_timeout_t timeout, Args... args) {
        int ret = k_mutex_lock(&mutex, timeout);
        if (ret) return co_result<int>::ready(ret);
        auto res = co(args...);
        k_mutex_unlock(&mutex);
        return res;
    }
};
```

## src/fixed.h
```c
#pragma once

#include <stdint.h>

#define Q_TYPE(prefix, whole, frac) prefix##whole##_##frac
#define Q_NAME(prefix, whole, frac, name) prefix##whole##_##frac##_##name

#define Q_DEFINE(lp, up, tp, b, w, f)                                          \
    typedef tp##b##_t Q_TYPE(lp, w, f);                                        \
                                                                               \
    static const Q_TYPE(lp, w, f) Q_NAME(up, w, f, ONE) = (Q_TYPE(lp, w, f))1  \
                                                          << f;                \
                                                                               \
    inline static Q_TYPE(lp, w, f) Q_NAME(lp, w, f, from_int)(tp##w##_t val) { \
        return (Q_TYPE(lp, w, f))val << f;                                     \
    }                                                                          \
                                                                               \
    inline static tp##w##_t Q_NAME(lp, w, f, whole)(Q_TYPE(lp, w, f) val) {    \
        return val >> f;                                                       \
    }                                                                          \
                                                                               \
    inline static float Q_NAME(lp, w, f, to_float)(Q_TYPE(lp, w, f) val) {     \
        return (float)val / Q_NAME(up, w, f, ONE);                             \
    }                                                                          \
                                                                               \
    inline static double Q_NAME(lp, w, f, to_double)(Q_TYPE(lp, w, f) val) {   \
        return (double)val / Q_NAME(up, w, f, ONE);                            \
    }

Q_DEFINE(q, Q, int, 64, 32, 32)
Q_DEFINE(qu, QU, uint, 64, 32, 32)
Q_DEFINE(q, Q, int, 32, 16, 16)
Q_DEFINE(qu, QU, uint, 32, 16, 16)
```
